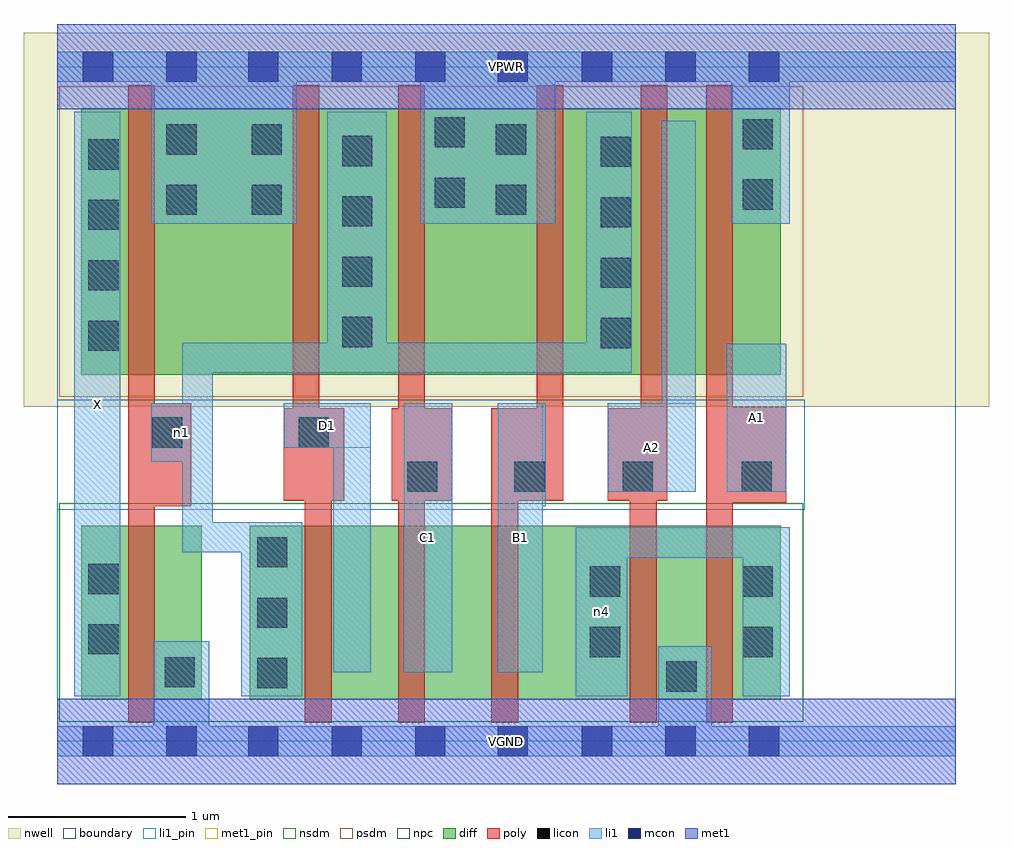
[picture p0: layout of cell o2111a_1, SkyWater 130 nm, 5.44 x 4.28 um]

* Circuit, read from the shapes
.subckt o2111a_1 A1 A2 B1 C1 D1 VGND VPWR X n1 n4
XM1 VGND n1 X VSUBS sky130_fd_pr__nfet_01v8 w=0.98 l=0.15
XM2 n2 D1 n1 VSUBS sky130_fd_pr__nfet_01v8 w=0.98 l=0.15
XM3 n3 C1 n2 VSUBS sky130_fd_pr__nfet_01v8 w=0.98 l=0.15
XM4 n4 B1 n3 VSUBS sky130_fd_pr__nfet_01v8 w=0.98 l=0.15
XM5 VGND A2 n4 VSUBS sky130_fd_pr__nfet_01v8 w=0.98 l=0.15
XM6 n4 A1 VGND VSUBS sky130_fd_pr__nfet_01v8 w=0.98 l=0.15
XM7 VPWR n1 X n5 sky130_fd_pr__pfet_01v8 w=1.5 l=0.15
XM8 n1 D1 VPWR n5 sky130_fd_pr__pfet_01v8 w=1.5 l=0.15
XM9 VPWR C1 n1 n5 sky130_fd_pr__pfet_01v8 w=1.5 l=0.15
XM10 n1 B1 VPWR n5 sky130_fd_pr__pfet_01v8 w=1.5 l=0.15
XM11 n6 A2 n1 n5 sky130_fd_pr__pfet_01v8 w=1.5 l=0.15
XM12 VPWR A1 n6 n5 sky130_fd_pr__pfet_01v8 w=1.5 l=0.15
.ends

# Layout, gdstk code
import gdstk
lib = gdstk.Library(unit=1e-6, precision=1e-09)
def R(c, l, rs):  # rectangles x0, y0, x1, y1
    for r in rs: c.add(gdstk.rectangle(r[:2], r[2:], *l))
def A(c, l, x, y, w, h, nx, ny, dx, dy):  # array of equal rectangles
    R(c, l, [(x+i*dx, y+j*dy, x+i*dx+w, y+j*dy+h) for i in range(nx) for j in range(ny)])
nwell = (64, 20)
diff = (65, 20)
poly = (66, 20)
licon = (66, 44)
li1_pin = (67, 16)
li1 = (67, 20)
mcon = (67, 44)
met1_pin = (68, 16)
met1 = (68, 20)
nsdm = (93, 44)
psdm = (94, 20)
npc = (95, 20)
boundary = (235, 4)

o2111a_1 = lib.new_cell('o2111a_1')
R(o2111a_1, nwell, [(-0.19,1.885,5.25,3.99), (0,1.885,5.06,3.99)])
R(o2111a_1, diff, [(0.135,0.235,0.815,1.215), (1.085,0.235,4.075,1.215), (0.135,2.065,4.075,3.565)])
R(o2111a_1, poly, [(0.4,0.105,0.55,3.695), (1.395,0.105,1.545,1.875), (1.92,0.105,2.07,3.695), (2.445,0.105,2.595,1.875), (3.225,0.105,3.375,1.875), (3.655,0.105,3.805,3.695), (0.4,1.325,0.755,1.905), (3.655,1.345,4.105,1.885), (1.275,1.355,1.615,1.875), (1.325,1.355,1.475,3.695), (1.885,1.355,2.225,1.875), (2.445,1.355,2.85,1.875), (2.7,1.355,2.85,3.695), (3.1,1.355,3.435,1.875), (3.285,1.355,3.435,3.695)])
A(o2111a_1, licon, 1.125, 0.3, 0.17, 0.17, 1, 3, 0, 0.34)
A(o2111a_1, licon, 0.175, 2.2, 0.17, 0.17, 1, 4, 0, 0.34)
A(o2111a_1, licon, 3.06, 2.215, 0.17, 0.17, 1, 4, 0, 0.34)
A(o2111a_1, licon, 1.605, 2.22, 0.17, 0.17, 1, 4, 0, 0.34)
R(o2111a_1, licon, [(3.43,0.28,3.6,0.45), (0.605,0.305,0.775,0.475), (3,0.475,3.17,0.645), (3.86,0.475,4.03,0.645), (0.175,0.49,0.345,0.66), (3,0.815,3.17,0.985), (3.86,0.815,4.03,0.985), (0.175,0.83,0.345,1), (1.97,1.405,2.14,1.575), (2.575,1.405,2.745,1.575), (3.185,1.405,3.355,1.575), (3.855,1.405,4.025,1.575), (0.535,1.655,0.705,1.825), (1.36,1.655,1.53,1.825), (0.615,2.965,0.785,3.135), (1.095,2.965,1.265,3.135), (2.47,2.965,2.64,3.135), (3.86,2.995,4.03,3.165), (2.125,3.005,2.295,3.175), (0.615,3.305,0.785,3.475), (1.095,3.305,1.265,3.475), (2.47,3.305,2.64,3.475), (3.86,3.335,4.03,3.505), (2.125,3.345,2.295,3.515)])
R(o2111a_1, li1_pin, [(0.095,0.255,0.355,3.545), (1.95,0.39,2.225,1.905), (2.48,0.39,2.735,1.905), (3.1,1.405,3.595,1.905), (3.77,1.405,4.105,2.24), (1.275,1.655,1.765,1.905)])
R(o2111a_1, li1, [(0,-0.085,5.06,0.085), (0.54,-0.085,0.855,0.565), (3.385,-0.085,3.685,0.535), (0.095,0.255,0.355,3.545), (1.035,0.255,1.38,1.235), (2.92,0.255,3.21,1.205), (3.86,0.255,4.125,1.205), (1.555,0.39,1.765,1.905), (1.95,0.39,2.225,1.905), (2.48,0.39,2.735,1.905), (2.92,1.035,4.125,1.205), (0.705,1.065,0.875,2.245), (0.705,1.065,1.38,1.235), (2.48,1.325,2.75,1.905), (3.1,1.405,3.595,1.905), (3.405,1.405,3.595,3.495), (3.77,1.405,4.105,2.24), (0.53,1.575,0.875,1.905), (1.275,1.655,1.765,1.905), (0.705,2.075,3.235,2.245), (1.52,2.075,1.855,3.545), (2.98,2.075,3.235,3.545), (0.53,2.915,1.35,3.885), (2.045,2.915,2.805,3.885), (3.795,2.915,4.125,3.885), (0,3.715,5.06,3.885)])
A(o2111a_1, mcon, 1.075, -0.085, 0.17, 0.17, 3, 2, 0.47, 3.8)
A(o2111a_1, mcon, 2.955, -0.085, 0.17, 0.17, 3, 2, 0.47, 3.8)
R(o2111a_1, mcon, [(0.145,-0.085,0.315,0.085), (0.615,-0.085,0.785,0.085), (2.48,-0.085,2.65,0.085), (0.145,3.715,0.315,3.885), (0.615,3.715,0.785,3.885), (2.48,3.715,2.65,3.885)])
R(o2111a_1, met1_pin, [(0,-0.24,5.06,0.24), (0,3.56,5.06,4.04)])
R(o2111a_1, met1, [(0,-0.24,5.06,0.24), (0,3.56,5.06,4.04)])
R(o2111a_1, nsdm, [(0.01,0.11,4.2,1.34)])
R(o2111a_1, psdm, [(0.01,1.94,4.2,3.69)])
R(o2111a_1, npc, [(0,1.305,4.21,1.925)])
R(o2111a_1, boundary, [(0,0,5.06,3.8)])
o2111a_1.add(gdstk.Label('A1', (3.937,1.822), layer=67, texttype=5))
o2111a_1.add(gdstk.Label('A2', (3.347,1.655), layer=67, texttype=5))
o2111a_1.add(gdstk.Label('B1', (2.607,1.147), layer=67, texttype=5))
o2111a_1.add(gdstk.Label('C1', (2.087,1.147), layer=67, texttype=5))
o2111a_1.add(gdstk.Label('D1', (1.52,1.78), layer=67, texttype=5))
o2111a_1.add(gdstk.Label('X', (0.225,1.9), layer=67, texttype=5))
o2111a_1.add(gdstk.Label('n4', (3.065,0.73), layer=67, texttype=5))
o2111a_1.add(gdstk.Label('n1', (0.702,1.74), layer=67, texttype=5))
o2111a_1.add(gdstk.Label('VPWR', (2.53,3.8), layer=68, texttype=5))
o2111a_1.add(gdstk.Label('VGND', (2.53,0), layer=68, texttype=5))
o2111a_1.add(gdstk.Label('A1', (3.937,1.822), layer=67, texttype=16))
o2111a_1.add(gdstk.Label('A2', (3.347,1.655), layer=67, texttype=16))
o2111a_1.add(gdstk.Label('B1', (2.607,1.147), layer=67, texttype=16))
o2111a_1.add(gdstk.Label('C1', (2.087,1.147), layer=67, texttype=16))
o2111a_1.add(gdstk.Label('D1', (1.52,1.78), layer=67, texttype=16))
o2111a_1.add(gdstk.Label('X', (0.225,1.9), layer=67, texttype=16))
o2111a_1.add(gdstk.Label('VPWR', (2.53,3.8), layer=68, texttype=16))
o2111a_1.add(gdstk.Label('VGND', (2.53,0), layer=68, texttype=16))

lib.write_gds('o2111a_1.gds')
